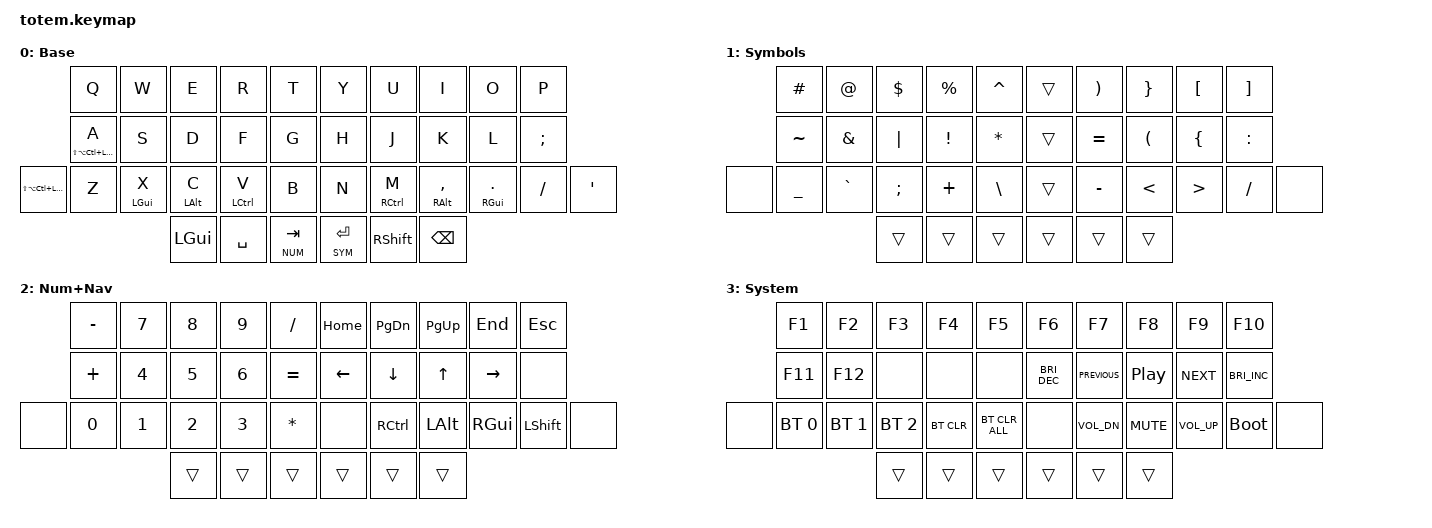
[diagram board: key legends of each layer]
//
//                                                        ▀▀▀▀▀     ▀▀▀▀▀          ▀▀█▀▀
//                                                        ▄▀▀▀▄  ▄  ▄▀▀▀▄  ▄  ▄▀▀▀▄  █  ▄▀▀▀▄
//                                                        █   █  █  █   █  █  █   █  █  █   █
//                                                         ▀▀▀   █   ▀▀▀   █   ▀▀▀   ▀   ▀▀▀
//                                                               █      ▄▄▄█▄▄▄    █   █
//                                                               ▀      █  █  █     █▄█
//                                                             ▀▀▀▀▀    █  █  █      ▀
//                                                                      ▀  ▀  ▀
//
// ▄▄▄▄▄▄▄▄▄▄▄▄▄▄▄▄▄▄▄▄▄▄▄▄▄▄▄▄▄▄▄▄▄▄▄▄▄▄▄▄▄▄▄▄▄▄▄▄▄▄▄▄▄▄▄▄▄▄▄▄▄▄▄▄▄▄▄▄▄▄▄▄▄▄▄▄▄▄▄▄▄▄▄▄▄▄▄▄▄▄▄▄▄▄▄▄▄▄▄▄▄▄▄▄▄▄▄▄▄▄▄▄▄▄▄▄▄▄▄▄▄▄▄▄▄▄▄▄▄▄▄▄▄▄▄▄▄▄▄▄▄▄▄▄▄▄▄▄▄

#include <behaviors.dtsi>
#include <dt-bindings/zmk/bt.h>
#include <dt-bindings/zmk/keys.h>

#define DEF 0
#define SYM 1
#define NUM 2
#define ADJ 3

/ {
    behaviors {
        hm: homerow_mods {
            compatible = "zmk,behavior-hold-tap";
            #binding-cells = <2>;
            tapping-term-ms = <200>;
            flavor = "tap-preferred";
            bindings = <&kp>, <&kp>;

            quick-tap-ms = <180>;
            require-prior-idle-ms = <120>;
        };

        caps: caps {
            compatible = "zmk,behavior-caps-word";
            #binding-cells = <0>;
            continue-list = <MINUS BACKSPACE>;
        };
    };

    combos {
        compatible = "zmk,combos";

        escape {
            bindings = <&kp ESCAPE>;
            key-positions = <1 2>;
        };

        layer_adj {
            bindings = <&mo ADJ>;
            key-positions = <34 35>;
        };
    };

    keymap {
        compatible = "zmk,keymap";

        DEF {
            display-name = "Base";
            bindings = <
                &kp Q                   &kp W       &kp E       &kp R        &kp T          &kp Y        &kp U        &kp I           &kp O         &kp P
                &hm LS(LA(LC(LGUI))) A  &kp S       &kp D       &kp F        &kp G          &kp H        &kp J        &kp K           &kp L         &kp SEMI
                &kp LS(LA(LC(LGUI)))    &kp Z       &hm LGUI X  &hm LALT C  &hm LCTRL V  &kp B          &kp N        &hm RCTRL M  &hm RALT COMMA  &hm RGUI DOT  &kp FSLH  &kp SQT
                                              &kp LGUI    &kp SPACE    &lt NUM TAB    &lt SYM RET  &kp RSHFT    &kp BSPC
            >;
        };

        SYM {
            display-name = "Symbols";
            bindings = <
                &kp HASH   &kp AT     &kp DLLR  &kp PRCNT  &kp CARET    &trans  &kp RPAR   &kp RBRC  &kp LBKT  &kp RBKT
                &kp TILDE  &kp AMPS   &kp PIPE  &kp EXCL   &kp ASTRK    &trans  &kp EQUAL  &kp LPAR  &kp LBRC  &kp COLON
                &none &kp UNDER  &kp GRAVE  &kp SEMI  &kp PLUS   &kp BSLH     &trans  &kp MINUS  &kp LT    &kp GT    &kp FSLH  &none
                                      &trans    &trans     &trans       &trans  &trans     &trans
            >;
        };

        NUM {
            display-name = "Num+Nav";
            bindings = <
                &kp MINUS  &kp N7  &kp N8  &kp N9  &kp FSLH        &kp HOME  &kp PG_DN          &kp PAGE_UP   &kp END        &kp ESC
                &kp PLUS   &kp N4  &kp N5  &kp N6  &kp EQUAL       &kp LEFT  &kp DOWN           &kp UP_ARROW  &kp RIGHT      &none
                &none &kp N0     &kp N1  &kp N2  &kp N3  &kp ASTERISK    &none     &kp RIGHT_CONTROL  &kp LALT      &kp RIGHT_GUI  &kp LSHFT &none
                                     &trans  &trans  &trans          &trans    &trans             &trans
            >;
        };

        ADJ {
            display-name = "System";
            bindings = <
                &kp F1        &kp F2        &kp F3        &kp F4      &kp F5            &kp F6                &kp F7          &kp F8            &kp F9        &kp F10
                &kp F11       &kp F12       &none         &none       &none             &kp C_BRIGHTNESS_DEC  &kp C_PREVIOUS  &kp C_PLAY_PAUSE  &kp C_NEXT    &kp C_BRIGHTNESS_INC
                &none &bt BT_SEL 0  &bt BT_SEL 1  &bt BT_SEL 2  &bt BT_CLR  &bt BT_CLR_ALL    &none                 &kp C_VOL_DN    &kp C_MUTE        &kp C_VOL_UP  &bootloader &none
                                           &trans        &trans      &trans            &trans                &trans          &trans
            >;
        };

    };
};
